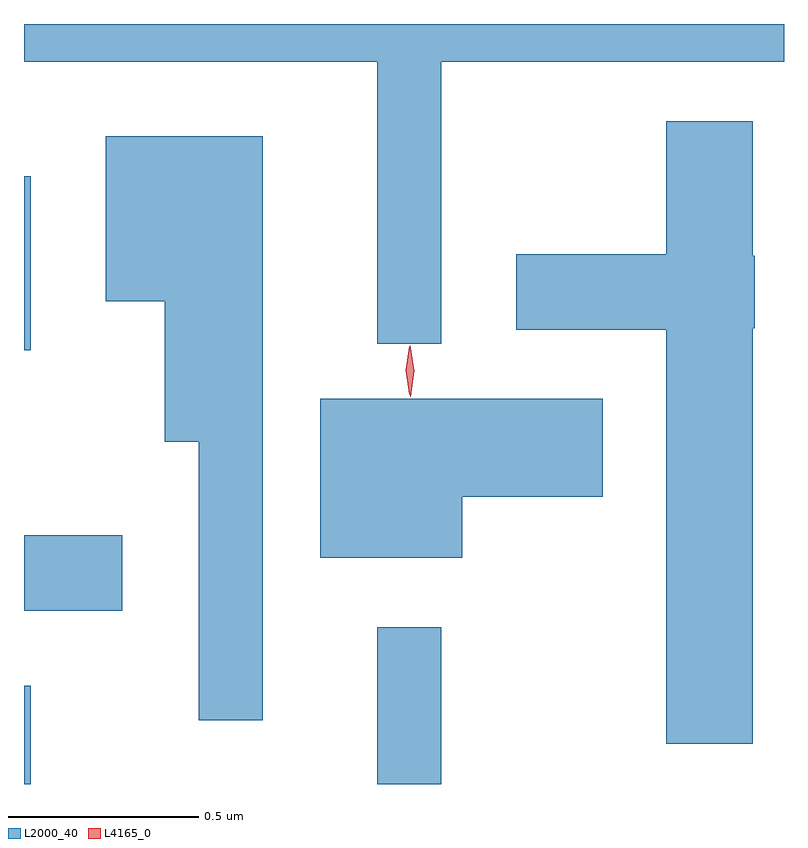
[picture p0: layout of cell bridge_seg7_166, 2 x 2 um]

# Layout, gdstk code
import gdstk
lib = gdstk.Library(unit=1e-6, precision=1e-09)
def R(c, l, rs):  # rectangles x0, y0, x1, y1
    for r in rs: c.add(gdstk.rectangle(r[:2], r[2:], *l))
def P(c, l, *ps):  # polygons
    for p in ps: c.add(gdstk.Polygon(p, *l))
L2000_40 = (2000, 40)
L4165_0 = (4165, 0)

bridge_seg7_166 = lib.new_cell('bridge_seg7_166')
R(bridge_seg7_166, L2000_40, [(1631.441,1716.855,1631.459,1717.114), (1632.371,1716.855,1632.539,1717.268), (1631.441,1717.311,1631.699,1717.509), (1631.441,1717.996,1631.459,1718.454)])
P(bridge_seg7_166, L2000_40, [(1632.539,1718.756),(1633.441,1718.756),(1633.441,1718.855),(1631.441,1718.855),(1631.441,1718.756),(1632.371,1718.756),(1632.371,1718.013),(1632.539,1718.013)],
  [(1633.359,1718.055),(1633.364,1718.055),(1633.364,1718.245),(1633.359,1718.245),(1633.359,1718.599),(1633.131,1718.599),(1633.131,1718.249),(1632.736,1718.249),(1632.736,1718.051),(1633.131,1718.051),(1633.131,1716.961),(1633.359,1716.961)],
  [(1632.069,1718.559),(1631.656,1718.559),(1631.656,1718.126),(1631.811,1718.126),(1631.811,1717.756),(1631.901,1717.756),(1631.901,1717.023),(1632.069,1717.023)],
  [(1632.594,1717.611),(1632.964,1717.611),(1632.964,1717.869),(1632.221,1717.869),(1632.221,1717.451),(1632.594,1717.451)])
P(bridge_seg7_166, L4165_0, [(1632.458,1717.874),(1632.458,1717.874),(1632.448,1717.942),(1632.457,1718.01),(1632.458,1718.01),(1632.458,1718.01),(1632.468,1717.942),(1632.459,1717.874)],
  [(1632.456,1717.88),(1632.455,1717.881),(1632.446,1717.944),(1632.455,1718.006),(1632.455,1718.007),(1632.456,1718.006),(1632.465,1717.944),(1632.456,1717.881)])

lib.write_gds('bridge_seg7_166.gds')
